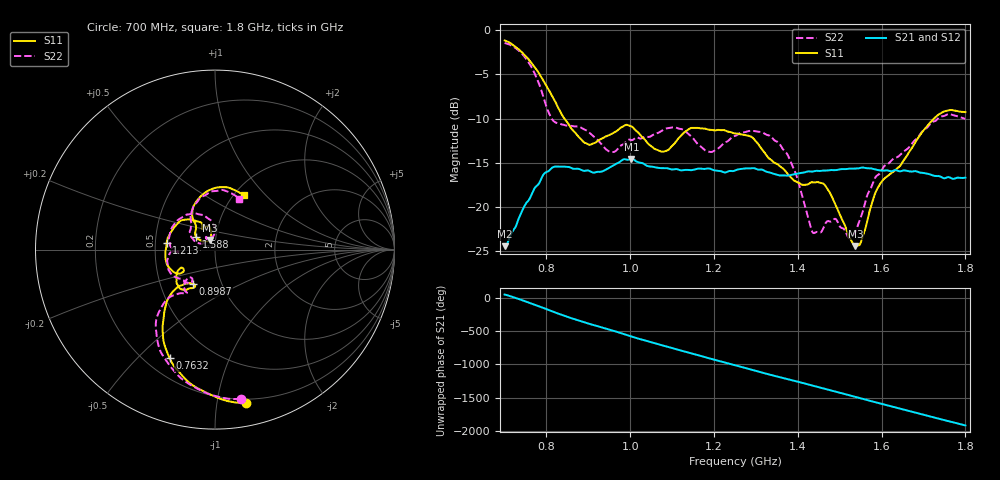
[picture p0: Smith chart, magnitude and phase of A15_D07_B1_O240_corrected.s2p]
! Created with skrf 1.9.0 (http://scikit-rf.org).
# Hz S RI R 50.0
!freq ReS11 ImS11 ReS21 ImS21 ReS12 ImS12 ReS22 ImS22
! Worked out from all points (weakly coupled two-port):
!   1601 points, 700 MHz to 1.8 GHz, reference 50 ohm
!   highest |S21| = -14.56 dB at 1.002 GHz (marker M1); lowest = -24.4 dB at 700.7 MHz (marker M2)
!   lowest |S11| = -24.4 dB at 1.537 GHz (marker M3), VSWR 1.13, Z = 47.1 + j5.09 ohm
!   |S11| at or under -10 dB: 842.6 MHz to 1.725 GHz (882.5 MHz wide, 68.7 % of centre)
!   |S22| runs from -23.5 to -1.5 dB; largest |S21 - S12| = 0.0036
!   S11 on the Smith chart (normalised r, x): 700 MHz: 0.17, -1.21; 763.2 MHz: 0.30, -0.62; 898.7 MHz: 0.73, -0.29; 1.213 GHz: 0.57, +0.05; 1.588 GHz: 0.81, +0.11; 1.8 GHz: 1.11, +0.76
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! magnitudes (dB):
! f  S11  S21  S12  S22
! 700 MHz  -1.2  -24.4  -24.2  -1.5
! 700.7 MHz  -1.2  -24.4  -24.1  -1.5
! 763.2 MHz  -3.7  -18.7  -18.7  -4.1
! 815.5 MHz  -7.6  -15.5  -15.6  -10.2
! 883.6 MHz  -12.4  -15.8  -15.7  -11.1
! 898.7 MHz  -12.9  -15.9  -15.9  -11.4
! 953.7 MHz  -11.8  -15.5  -15.5  -13.8
! 1.002 GHz  -10.9  -14.6  -14.7  -12.4
! 1.067 GHz  -13.6  -15.6  -15.5  -11.6
! 1.144 GHz  -11.1  -15.8  -15.8  -11.9
! 1.213 GHz  -11.3  -15.9  -15.9  -13.3
! 1.25 GHz  -11.7  -15.9  -15.8  -12.0
! 1.356 GHz  -15.3  -16.4  -16.4  -12.8
! 1.394 GHz  -17.1  -16.3  -16.3  -16.1
! 1.434 GHz  -17.2  -16.0  -16.0  -22.7
! 1.469 GHz  -17.8  -15.9  -15.9  -21.7
! 1.537 GHz  -24.4  -15.6  -15.7  -22.8
! 1.552 GHz  -23.7  -15.5  -15.6  -20.9
! 1.588 GHz  -18.1  -15.8  -15.8  -16.5
! 1.617 GHz  -16.4  -15.9  -15.9  -15.1
! 1.733 GHz  -9.7  -16.5  -16.5  -10.1
! 1.8 GHz  -9.3  -16.7  -16.7  -10.0
